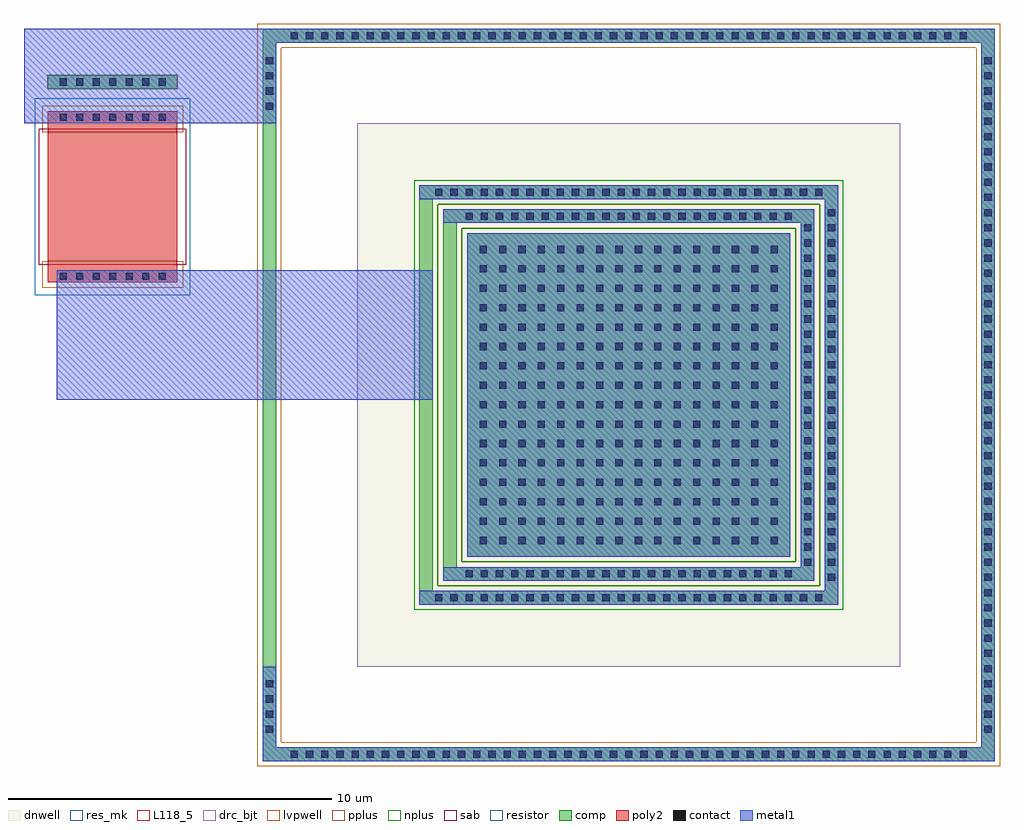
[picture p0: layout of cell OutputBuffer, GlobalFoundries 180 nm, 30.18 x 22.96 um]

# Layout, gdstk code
from math import pi, radians
import gdstk
lib = gdstk.Library(unit=1e-6, precision=1e-09)
def R(c, l, rs):  # rectangles x0, y0, x1, y1
    for r in rs: c.add(gdstk.rectangle(r[:2], r[2:], *l))
def A(c, l, x, y, w, h, nx, ny, dx, dy):  # array of equal rectangles
    R(c, l, [(x+i*dx, y+j*dy, x+i*dx+w, y+j*dy+h) for i in range(nx) for j in range(ny)])
def P(c, l, *ps):  # polygons
    for p in ps: c.add(gdstk.Polygon(p, *l))
dnwell = (12, 0)
comp = (22, 0)
poly2 = (30, 0)
pplus = (31, 0)
nplus = (32, 0)
contact = (33, 0)
metal1 = (34, 0)
sab = (49, 0)
resistor = (62, 0)
res_mk = (110, 5)
L118_5 = (118, 5)
drc_bjt = (127, 5)
lvpwell = (204, 0)

npn_10p00x10p00_0 = lib.new_cell('npn_10p00x10p00_0')
R(npn_10p00x10p00_0, dnwell, [(-3.4,-3.4,13.4,13.4), (-3.4,-3.4,13.4,13.4)])
R(npn_10p00x10p00_0, comp, [(0,0,10,10), (0,0,10,10)])
P(npn_10p00x10p00_0, comp, [(-6.32,-6.32),(-6.32,16.32),(15.9,16.32),(15.9,15.9),(-5.9,15.9),(-5.9,-5.9),(15.9,-5.9),(15.9,16.32),(16.32,16.32),(16.32,-6.32)],
  [(-0.74,-0.74),(-0.74,10.74),(10.32,10.74),(10.32,10.32),(-0.32,10.32),(-0.32,-0.32),(10.32,-0.32),(10.32,10.74),(10.74,10.74),(10.74,-0.74)],
  [(-1.48,-1.48),(-1.48,11.48),(11.06,11.48),(11.06,11.06),(-1.06,11.06),(-1.06,-1.06),(11.06,-1.06),(11.06,11.48),(11.48,11.48),(11.48,-1.48)],
  [(-6.32,-6.32),(-6.32,16.32),(15.9,16.32),(15.9,15.9),(-5.9,15.9),(-5.9,-5.9),(15.9,-5.9),(15.9,16.32),(16.32,16.32),(16.32,-6.32)],
  [(-0.74,-0.74),(-0.74,10.74),(10.32,10.74),(10.32,10.32),(-0.32,10.32),(-0.32,-0.32),(10.32,-0.32),(10.32,10.74),(10.74,10.74),(10.74,-0.74)],
  [(-1.48,-1.48),(-1.48,11.48),(11.06,11.48),(11.06,11.06),(-1.06,11.06),(-1.06,-1.06),(11.06,-1.06),(11.06,11.48),(11.48,11.48),(11.48,-1.48)])
P(npn_10p00x10p00_0, pplus, [(-6.48,-6.48),(-6.48,16.48),(15.74,16.48),(15.74,15.74),(-5.74,15.74),(-5.74,-5.74),(15.74,-5.74),(15.74,16.48),(16.48,16.48),(16.48,-6.48)],
  [(-0.9,-0.9),(-0.9,10.9),(10.16,10.9),(10.16,10.16),(-0.16,10.16),(-0.16,-0.16),(10.16,-0.16),(10.16,10.9),(10.9,10.9),(10.9,-0.9)],
  [(-6.48,-6.48),(-6.48,16.48),(15.74,16.48),(15.74,15.74),(-5.74,15.74),(-5.74,-5.74),(15.74,-5.74),(15.74,16.48),(16.48,16.48),(16.48,-6.48)],
  [(-0.9,-0.9),(-0.9,10.9),(10.16,10.9),(10.16,10.16),(-0.16,10.16),(-0.16,-0.16),(10.16,-0.16),(10.16,10.9),(10.9,10.9),(10.9,-0.9)])
R(npn_10p00x10p00_0, nplus, [(-0.16,-0.16,10.16,10.16), (-0.16,-0.16,10.16,10.16)])
P(npn_10p00x10p00_0, nplus, [(-1.64,-1.64),(-1.64,11.64),(10.9,11.64),(10.9,10.9),(-0.9,10.9),(-0.9,-0.9),(10.9,-0.9),(10.9,11.64),(11.64,11.64),(11.64,-1.64)],
  [(-1.64,-1.64),(-1.64,11.64),(10.9,11.64),(10.9,10.9),(-0.9,10.9),(-0.9,-0.9),(10.9,-0.9),(10.9,11.64),(11.64,11.64),(11.64,-1.64)])
R(npn_10p00x10p00_0, contact, [(-5.45,-6.22,-5.23,-6), (-5.45,-6.22,-5.23,-6), (-4.98,-6.22,-4.76,-6), (-4.98,-6.22,-4.76,-6), (-4.51,-6.22,-4.29,-6), (-4.51,-6.22,-4.29,-6), (-4.04,-6.22,-3.82,-6), (-4.04,-6.22,-3.82,-6), (13.82,-6.22,14.04,-6), (13.82,-6.22,14.04,-6), (14.29,-6.22,14.51,-6), (14.29,-6.22,14.51,-6), (14.76,-6.22,14.98,-6), (14.76,-6.22,14.98,-6), (15.23,-6.22,15.45,-6), (15.23,-6.22,15.45,-6), (-6.22,-5.45,-6,-5.23), (-6.22,-5.45,-6,-5.23), (16,-5.45,16.22,-5.23), (16,-5.45,16.22,-5.23), (-6.22,-4.98,-6,-4.76), (-6.22,-4.98,-6,-4.76), (16,-4.98,16.22,-4.76), (16,-4.98,16.22,-4.76), (-6.22,-4.51,-6,-4.29), (-6.22,-4.51,-6,-4.29), (16,-4.51,16.22,-4.29), (16,-4.51,16.22,-4.29), (-6.22,-4.04,-6,-3.82), (-6.22,-4.04,-6,-3.82), (16,-4.04,16.22,-3.82), (16,-4.04,16.22,-3.82), (-6.22,-3.57,-6,-3.35), (-6.22,-3.57,-6,-3.35), (16,-3.57,16.22,-3.35), (16,-3.57,16.22,-3.35), (-6.22,-3.1,-6,-2.88), (-6.22,-3.1,-6,-2.88), (16,-3.1,16.22,-2.88), (16,-3.1,16.22,-2.88), (-6.22,-2.63,-6,-2.41), (-6.22,-2.63,-6,-2.41), (16,-2.63,16.22,-2.41), (16,-2.63,16.22,-2.41), (-6.22,-2.16,-6,-1.94), (-6.22,-2.16,-6,-1.94), (16,-2.16,16.22,-1.94), (16,-2.16,16.22,-1.94), (-6.22,-1.69,-6,-1.47), (-6.22,-1.69,-6,-1.47), (16,-1.69,16.22,-1.47), (16,-1.69,16.22,-1.47), (-6.22,-1.22,-6,-1), (-6.22,-1.22,-6,-1), (16,-1.22,16.22,-1), (16,-1.22,16.22,-1), (-1.38,-0.985,-1.16,-0.765), (-1.38,-0.985,-1.16,-0.765), (11.16,-0.985,11.38,-0.765), (11.16,-0.985,11.38,-0.765), (-6.22,-0.75,-6,-0.53), (-6.22,-0.75,-6,-0.53), (16,-0.75,16.22,-0.53), (16,-0.75,16.22,-0.53), (-1.38,-0.515,-1.16,-0.295), (-1.38,-0.515,-1.16,-0.295), (11.16,-0.515,11.38,-0.295), (11.16,-0.515,11.38,-0.295), (-6.22,-0.28,-6,-0.06), (-6.22,-0.28,-6,-0.06), (16,-0.28,16.22,-0.06), (16,-0.28,16.22,-0.06), (-1.38,-0.045,-1.16,0.175), (-1.38,-0.045,-1.16,0.175), (-0.64,-0.045,-0.42,0.175), (-0.64,-0.045,-0.42,0.175), (10.42,-0.045,10.64,0.175), (10.42,-0.045,10.64,0.175), (11.16,-0.045,11.38,0.175), (11.16,-0.045,11.38,0.175), (-6.22,0.19,-6,0.41), (-6.22,0.19,-6,0.41), (16,0.19,16.22,0.41), (16,0.19,16.22,0.41), (0.39,0.39,0.61,0.61), (0.39,0.39,0.61,0.61), (0.99,0.39,1.21,0.61), (0.99,0.39,1.21,0.61), (1.59,0.39,1.81,0.61), (1.59,0.39,1.81,0.61), (2.19,0.39,2.41,0.61), (2.19,0.39,2.41,0.61), (2.79,0.39,3.01,0.61), (2.79,0.39,3.01,0.61), (3.39,0.39,3.61,0.61), (3.39,0.39,3.61,0.61), (3.99,0.39,4.21,0.61), (3.99,0.39,4.21,0.61), (4.59,0.39,4.81,0.61), (4.59,0.39,4.81,0.61), (5.19,0.39,5.41,0.61), (5.19,0.39,5.41,0.61), (5.79,0.39,6.01,0.61), (5.79,0.39,6.01,0.61), (6.39,0.39,6.61,0.61), (6.39,0.39,6.61,0.61), (6.99,0.39,7.21,0.61), (6.99,0.39,7.21,0.61), (7.59,0.39,7.81,0.61), (7.59,0.39,7.81,0.61), (8.19,0.39,8.41,0.61), (8.19,0.39,8.41,0.61), (8.79,0.39,9.01,0.61), (8.79,0.39,9.01,0.61), (9.39,0.39,9.61,0.61), (9.39,0.39,9.61,0.61), (-1.38,0.425,-1.16,0.645), (-1.38,0.425,-1.16,0.645), (-0.64,0.425,-0.42,0.645), (-0.64,0.425,-0.42,0.645), (10.42,0.425,10.64,0.645), (10.42,0.425,10.64,0.645), (11.16,0.425,11.38,0.645), (11.16,0.425,11.38,0.645), (-6.22,0.66,-6,0.88), (-6.22,0.66,-6,0.88), (16,0.66,16.22,0.88), (16,0.66,16.22,0.88), (-1.38,0.895,-1.16,1.115), (-1.38,0.895,-1.16,1.115), (-0.64,0.895,-0.42,1.115), (-0.64,0.895,-0.42,1.115), (10.42,0.895,10.64,1.115), (10.42,0.895,10.64,1.115), (11.16,0.895,11.38,1.115), (11.16,0.895,11.38,1.115), (0.39,0.99,0.61,1.21), (0.39,0.99,0.61,1.21), (0.99,0.99,1.21,1.21), (0.99,0.99,1.21,1.21), (1.59,0.99,1.81,1.21), (1.59,0.99,1.81,1.21), (2.19,0.99,2.41,1.21), (2.19,0.99,2.41,1.21), (2.79,0.99,3.01,1.21), (2.79,0.99,3.01,1.21), (3.39,0.99,3.61,1.21), (3.39,0.99,3.61,1.21), (3.99,0.99,4.21,1.21), (3.99,0.99,4.21,1.21), (4.59,0.99,4.81,1.21), (4.59,0.99,4.81,1.21), (5.19,0.99,5.41,1.21), (5.19,0.99,5.41,1.21), (5.79,0.99,6.01,1.21), (5.79,0.99,6.01,1.21), (6.39,0.99,6.61,1.21), (6.39,0.99,6.61,1.21), (6.99,0.99,7.21,1.21), (6.99,0.99,7.21,1.21), (7.59,0.99,7.81,1.21), (7.59,0.99,7.81,1.21), (8.19,0.99,8.41,1.21), (8.19,0.99,8.41,1.21), (8.79,0.99,9.01,1.21), (8.79,0.99,9.01,1.21), (9.39,0.99,9.61,1.21), (9.39,0.99,9.61,1.21), (-6.22,1.13,-6,1.35), (-6.22,1.13,-6,1.35), (16,1.13,16.22,1.35), (16,1.13,16.22,1.35), (-1.38,1.365,-1.16,1.585), (-1.38,1.365,-1.16,1.585), (-0.64,1.365,-0.42,1.585), (-0.64,1.365,-0.42,1.585), (10.42,1.365,10.64,1.585), (10.42,1.365,10.64,1.585), (11.16,1.365,11.38,1.585), (11.16,1.365,11.38,1.585), (0.39,1.59,0.61,1.81), (0.39,1.59,0.61,1.81), (0.99,1.59,1.21,1.81), (0.99,1.59,1.21,1.81), (1.59,1.59,1.81,1.81), (1.59,1.59,1.81,1.81), (2.19,1.59,2.41,1.81), (2.19,1.59,2.41,1.81), (2.79,1.59,3.01,1.81), (2.79,1.59,3.01,1.81), (3.39,1.59,3.61,1.81), (3.39,1.59,3.61,1.81), (3.99,1.59,4.21,1.81), (3.99,1.59,4.21,1.81), (4.59,1.59,4.81,1.81), (4.59,1.59,4.81,1.81), (5.19,1.59,5.41,1.81), (5.19,1.59,5.41,1.81), (5.79,1.59,6.01,1.81), (5.79,1.59,6.01,1.81), (6.39,1.59,6.61,1.81), (6.39,1.59,6.61,1.81), (6.99,1.59,7.21,1.81), (6.99,1.59,7.21,1.81), (7.59,1.59,7.81,1.81), (7.59,1.59,7.81,1.81), (8.19,1.59,8.41,1.81), (8.19,1.59,8.41,1.81), (8.79,1.59,9.01,1.81), (8.79,1.59,9.01,1.81), (9.39,1.59,9.61,1.81), (9.39,1.59,9.61,1.81), (-6.22,1.6,-6,1.82), (-6.22,1.6,-6,1.82), (16,1.6,16.22,1.82), (16,1.6,16.22,1.82), (-1.38,1.835,-1.16,2.055), (-1.38,1.835,-1.16,2.055), (-0.64,1.835,-0.42,2.055), (-0.64,1.835,-0.42,2.055), (10.42,1.835,10.64,2.055), (10.42,1.835,10.64,2.055), (11.16,1.835,11.38,2.055), (11.16,1.835,11.38,2.055), (-6.22,2.07,-6,2.29), (-6.22,2.07,-6,2.29), (16,2.07,16.22,2.29), (16,2.07,16.22,2.29), (0.39,2.19,0.61,2.41), (0.39,2.19,0.61,2.41), (0.99,2.19,1.21,2.41), (0.99,2.19,1.21,2.41), (1.59,2.19,1.81,2.41), (1.59,2.19,1.81,2.41), (2.19,2.19,2.41,2.41), (2.19,2.19,2.41,2.41), (2.79,2.19,3.01,2.41), (2.79,2.19,3.01,2.41), (3.39,2.19,3.61,2.41), (3.39,2.19,3.61,2.41), (3.99,2.19,4.21,2.41), (3.99,2.19,4.21,2.41), (4.59,2.19,4.81,2.41), (4.59,2.19,4.81,2.41), (5.19,2.19,5.41,2.41), (5.19,2.19,5.41,2.41), (5.79,2.19,6.01,2.41), (5.79,2.19,6.01,2.41), (6.39,2.19,6.61,2.41), (6.39,2.19,6.61,2.41), (6.99,2.19,7.21,2.41), (6.99,2.19,7.21,2.41), (7.59,2.19,7.81,2.41), (7.59,2.19,7.81,2.41), (8.19,2.19,8.41,2.41), (8.19,2.19,8.41,2.41), (8.79,2.19,9.01,2.41), (8.79,2.19,9.01,2.41), (9.39,2.19,9.61,2.41), (9.39,2.19,9.61,2.41), (-1.38,2.305,-1.16,2.525), (-1.38,2.305,-1.16,2.525), (-0.64,2.305,-0.42,2.525), (-0.64,2.305,-0.42,2.525), (10.42,2.305,10.64,2.525), (10.42,2.305,10.64,2.525), (11.16,2.305,11.38,2.525), (11.16,2.305,11.38,2.525), (-6.22,2.54,-6,2.76), (-6.22,2.54,-6,2.76), (16,2.54,16.22,2.76), (16,2.54,16.22,2.76), (-1.38,2.775,-1.16,2.995), (-1.38,2.775,-1.16,2.995), (-0.64,2.775,-0.42,2.995), (-0.64,2.775,-0.42,2.995), (10.42,2.775,10.64,2.995), (10.42,2.775,10.64,2.995), (11.16,2.775,11.38,2.995), (11.16,2.775,11.38,2.995), (0.39,2.79,0.61,3.01), (0.39,2.79,0.61,3.01), (0.99,2.79,1.21,3.01), (0.99,2.79,1.21,3.01), (1.59,2.79,1.81,3.01), (1.59,2.79,1.81,3.01), (2.19,2.79,2.41,3.01), (2.19,2.79,2.41,3.01), (2.79,2.79,3.01,3.01), (2.79,2.79,3.01,3.01), (3.39,2.79,3.61,3.01), (3.39,2.79,3.61,3.01), (3.99,2.79,4.21,3.01), (3.99,2.79,4.21,3.01), (4.59,2.79,4.81,3.01), (4.59,2.79,4.81,3.01), (5.19,2.79,5.41,3.01), (5.19,2.79,5.41,3.01), (5.79,2.79,6.01,3.01), (5.79,2.79,6.01,3.01), (6.39,2.79,6.61,3.01), (6.39,2.79,6.61,3.01), (6.99,2.79,7.21,3.01), (6.99,2.79,7.21,3.01), (7.59,2.79,7.81,3.01), (7.59,2.79,7.81,3.01), (8.19,2.79,8.41,3.01), (8.19,2.79,8.41,3.01), (8.79,2.79,9.01,3.01), (8.79,2.79,9.01,3.01), (9.39,2.79,9.61,3.01), (9.39,2.79,9.61,3.01), (-6.22,3.01,-6,3.23), (-6.22,3.01,-6,3.23), (16,3.01,16.22,3.23), (16,3.01,16.22,3.23), (-1.38,3.245,-1.16,3.465), (-1.38,3.245,-1.16,3.465), (-0.64,3.245,-0.42,3.465), (-0.64,3.245,-0.42,3.465), (10.42,3.245,10.64,3.465), (10.42,3.245,10.64,3.465), (11.16,3.245,11.38,3.465), (11.16,3.245,11.38,3.465), (0.39,3.39,0.61,3.61), (0.39,3.39,0.61,3.61), (0.99,3.39,1.21,3.61), (0.99,3.39,1.21,3.61), (1.59,3.39,1.81,3.61), (1.59,3.39,1.81,3.61), (2.19,3.39,2.41,3.61), (2.19,3.39,2.41,3.61), (2.79,3.39,3.01,3.61), (2.79,3.39,3.01,3.61), (3.39,3.39,3.61,3.61), (3.39,3.39,3.61,3.61), (3.99,3.39,4.21,3.61), (3.99,3.39,4.21,3.61), (4.59,3.39,4.81,3.61), (4.59,3.39,4.81,3.61), (5.19,3.39,5.41,3.61), (5.19,3.39,5.41,3.61), (5.79,3.39,6.01,3.61), (5.79,3.39,6.01,3.61), (6.39,3.39,6.61,3.61), (6.39,3.39,6.61,3.61), (6.99,3.39,7.21,3.61), (6.99,3.39,7.21,3.61), (7.59,3.39,7.81,3.61), (7.59,3.39,7.81,3.61), (8.19,3.39,8.41,3.61), (8.19,3.39,8.41,3.61), (8.79,3.39,9.01,3.61), (8.79,3.39,9.01,3.61), (9.39,3.39,9.61,3.61), (9.39,3.39,9.61,3.61), (-6.22,3.48,-6,3.7), (-6.22,3.48,-6,3.7), (16,3.48,16.22,3.7), (16,3.48,16.22,3.7), (-1.38,3.715,-1.16,3.935), (-1.38,3.715,-1.16,3.935), (-0.64,3.715,-0.42,3.935), (-0.64,3.715,-0.42,3.935), (10.42,3.715,10.64,3.935), (10.42,3.715,10.64,3.935), (11.16,3.715,11.38,3.935), (11.16,3.715,11.38,3.935), (-6.22,3.95,-6,4.17), (-6.22,3.95,-6,4.17), (16,3.95,16.22,4.17), (16,3.95,16.22,4.17), (0.39,3.99,0.61,4.21), (0.39,3.99,0.61,4.21), (0.99,3.99,1.21,4.21), (0.99,3.99,1.21,4.21), (1.59,3.99,1.81,4.21), (1.59,3.99,1.81,4.21), (2.19,3.99,2.41,4.21), (2.19,3.99,2.41,4.21), (2.79,3.99,3.01,4.21), (2.79,3.99,3.01,4.21), (3.39,3.99,3.61,4.21), (3.39,3.99,3.61,4.21), (3.99,3.99,4.21,4.21), (3.99,3.99,4.21,4.21), (4.59,3.99,4.81,4.21), (4.59,3.99,4.81,4.21), (5.19,3.99,5.41,4.21), (5.19,3.99,5.41,4.21), (5.79,3.99,6.01,4.21), (5.79,3.99,6.01,4.21), (6.39,3.99,6.61,4.21), (6.39,3.99,6.61,4.21), (6.99,3.99,7.21,4.21), (6.99,3.99,7.21,4.21), (7.59,3.99,7.81,4.21), (7.59,3.99,7.81,4.21), (8.19,3.99,8.41,4.21), (8.19,3.99,8.41,4.21), (8.79,3.99,9.01,4.21), (8.79,3.99,9.01,4.21), (9.39,3.99,9.61,4.21), (9.39,3.99,9.61,4.21), (-1.38,4.185,-1.16,4.405), (-1.38,4.185,-1.16,4.405), (-0.64,4.185,-0.42,4.405), (-0.64,4.185,-0.42,4.405), (10.42,4.185,10.64,4.405), (10.42,4.185,10.64,4.405), (11.16,4.185,11.38,4.405), (11.16,4.185,11.38,4.405), (-6.22,4.42,-6,4.64), (-6.22,4.42,-6,4.64), (16,4.42,16.22,4.64), (16,4.42,16.22,4.64), (0.39,4.59,0.61,4.81), (0.39,4.59,0.61,4.81), (0.99,4.59,1.21,4.81), (0.99,4.59,1.21,4.81), (1.59,4.59,1.81,4.81), (1.59,4.59,1.81,4.81), (2.19,4.59,2.41,4.81), (2.19,4.59,2.41,4.81), (2.79,4.59,3.01,4.81), (2.79,4.59,3.01,4.81), (3.39,4.59,3.61,4.81), (3.39,4.59,3.61,4.81), (3.99,4.59,4.21,4.81), (3.99,4.59,4.21,4.81), (4.59,4.59,4.81,4.81), (4.59,4.59,4.81,4.81), (5.19,4.59,5.41,4.81), (5.19,4.59,5.41,4.81), (5.79,4.59,6.01,4.81), (5.79,4.59,6.01,4.81), (6.39,4.59,6.61,4.81), (6.39,4.59,6.61,4.81), (6.99,4.59,7.21,4.81), (6.99,4.59,7.21,4.81), (7.59,4.59,7.81,4.81), (7.59,4.59,7.81,4.81), (8.19,4.59,8.41,4.81), (8.19,4.59,8.41,4.81), (8.79,4.59,9.01,4.81), (8.79,4.59,9.01,4.81), (9.39,4.59,9.61,4.81), (9.39,4.59,9.61,4.81), (-1.38,4.655,-1.16,4.875), (-1.38,4.655,-1.16,4.875), (-0.64,4.655,-0.42,4.875), (-0.64,4.655,-0.42,4.875), (10.42,4.655,10.64,4.875), (10.42,4.655,10.64,4.875), (11.16,4.655,11.38,4.875), (11.16,4.655,11.38,4.875), (-6.22,4.89,-6,5.11), (-6.22,4.89,-6,5.11), (16,4.89,16.22,5.11), (16,4.89,16.22,5.11), (-1.38,5.125,-1.16,5.345), (-1.38,5.125,-1.16,5.345), (-0.64,5.125,-0.42,5.345), (-0.64,5.125,-0.42,5.345), (10.42,5.125,10.64,5.345), (10.42,5.125,10.64,5.345), (11.16,5.125,11.38,5.345), (11.16,5.125,11.38,5.345), (0.39,5.19,0.61,5.41), (0.39,5.19,0.61,5.41), (0.99,5.19,1.21,5.41), (0.99,5.19,1.21,5.41), (1.59,5.19,1.81,5.41), (1.59,5.19,1.81,5.41), (2.19,5.19,2.41,5.41), (2.19,5.19,2.41,5.41), (2.79,5.19,3.01,5.41), (2.79,5.19,3.01,5.41), (3.39,5.19,3.61,5.41), (3.39,5.19,3.61,5.41), (3.99,5.19,4.21,5.41), (3.99,5.19,4.21,5.41), (4.59,5.19,4.81,5.41), (4.59,5.19,4.81,5.41), (5.19,5.19,5.41,5.41), (5.19,5.19,5.41,5.41), (5.79,5.19,6.01,5.41), (5.79,5.19,6.01,5.41), (6.39,5.19,6.61,5.41), (6.39,5.19,6.61,5.41), (6.99,5.19,7.21,5.41), (6.99,5.19,7.21,5.41), (7.59,5.19,7.81,5.41), (7.59,5.19,7.81,5.41), (8.19,5.19,8.41,5.41), (8.19,5.19,8.41,5.41), (8.79,5.19,9.01,5.41), (8.79,5.19,9.01,5.41), (9.39,5.19,9.61,5.41), (9.39,5.19,9.61,5.41), (-6.22,5.36,-6,5.58), (-6.22,5.36,-6,5.58), (16,5.36,16.22,5.58), (16,5.36,16.22,5.58), (-1.38,5.595,-1.16,5.815), (-1.38,5.595,-1.16,5.815), (-0.64,5.595,-0.42,5.815), (-0.64,5.595,-0.42,5.815), (10.42,5.595,10.64,5.815), (10.42,5.595,10.64,5.815), (11.16,5.595,11.38,5.815), (11.16,5.595,11.38,5.815), (0.39,5.79,0.61,6.01), (0.39,5.79,0.61,6.01), (0.99,5.79,1.21,6.01), (0.99,5.79,1.21,6.01), (1.59,5.79,1.81,6.01), (1.59,5.79,1.81,6.01), (2.19,5.79,2.41,6.01), (2.19,5.79,2.41,6.01), (2.79,5.79,3.01,6.01), (2.79,5.79,3.01,6.01), (3.39,5.79,3.61,6.01), (3.39,5.79,3.61,6.01), (3.99,5.79,4.21,6.01), (3.99,5.79,4.21,6.01), (4.59,5.79,4.81,6.01), (4.59,5.79,4.81,6.01), (5.19,5.79,5.41,6.01), (5.19,5.79,5.41,6.01), (5.79,5.79,6.01,6.01), (5.79,5.79,6.01,6.01), (6.39,5.79,6.61,6.01), (6.39,5.79,6.61,6.01), (6.99,5.79,7.21,6.01), (6.99,5.79,7.21,6.01), (7.59,5.79,7.81,6.01), (7.59,5.79,7.81,6.01), (8.19,5.79,8.41,6.01), (8.19,5.79,8.41,6.01), (8.79,5.79,9.01,6.01), (8.79,5.79,9.01,6.01), (9.39,5.79,9.61,6.01), (9.39,5.79,9.61,6.01), (-6.22,5.83,-6,6.05), (-6.22,5.83,-6,6.05), (16,5.83,16.22,6.05), (16,5.83,16.22,6.05), (-1.38,6.065,-1.16,6.285), (-1.38,6.065,-1.16,6.285), (-0.64,6.065,-0.42,6.285), (-0.64,6.065,-0.42,6.285), (10.42,6.065,10.64,6.285), (10.42,6.065,10.64,6.285), (11.16,6.065,11.38,6.285), (11.16,6.065,11.38,6.285), (-6.22,6.3,-6,6.52), (-6.22,6.3,-6,6.52), (16,6.3,16.22,6.52), (16,6.3,16.22,6.52), (0.39,6.39,0.61,6.61), (0.39,6.39,0.61,6.61), (0.99,6.39,1.21,6.61), (0.99,6.39,1.21,6.61), (1.59,6.39,1.81,6.61), (1.59,6.39,1.81,6.61), (2.19,6.39,2.41,6.61), (2.19,6.39,2.41,6.61), (2.79,6.39,3.01,6.61), (2.79,6.39,3.01,6.61), (3.39,6.39,3.61,6.61), (3.39,6.39,3.61,6.61), (3.99,6.39,4.21,6.61), (3.99,6.39,4.21,6.61), (4.59,6.39,4.81,6.61), (4.59,6.39,4.81,6.61), (5.19,6.39,5.41,6.61), (5.19,6.39,5.41,6.61), (5.79,6.39,6.01,6.61), (5.79,6.39,6.01,6.61), (6.39,6.39,6.61,6.61), (6.39,6.39,6.61,6.61), (6.99,6.39,7.21,6.61), (6.99,6.39,7.21,6.61), (7.59,6.39,7.81,6.61), (7.59,6.39,7.81,6.61), (8.19,6.39,8.41,6.61), (8.19,6.39,8.41,6.61), (8.79,6.39,9.01,6.61), (8.79,6.39,9.01,6.61), (9.39,6.39,9.61,6.61), (9.39,6.39,9.61,6.61), (-1.38,6.535,-1.16,6.755), (-1.38,6.535,-1.16,6.755), (-0.64,6.535,-0.42,6.755), (-0.64,6.535,-0.42,6.755), (10.42,6.535,10.64,6.755), (10.42,6.535,10.64,6.755), (11.16,6.535,11.38,6.755), (11.16,6.535,11.38,6.755), (-6.22,6.77,-6,6.99), (-6.22,6.77,-6,6.99), (16,6.77,16.22,6.99), (16,6.77,16.22,6.99), (0.39,6.99,0.61,7.21), (0.39,6.99,0.61,7.21), (0.99,6.99,1.21,7.21), (0.99,6.99,1.21,7.21), (1.59,6.99,1.81,7.21), (1.59,6.99,1.81,7.21), (2.19,6.99,2.41,7.21), (2.19,6.99,2.41,7.21), (2.79,6.99,3.01,7.21), (2.79,6.99,3.01,7.21), (3.39,6.99,3.61,7.21), (3.39,6.99,3.61,7.21), (3.99,6.99,4.21,7.21), (3.99,6.99,4.21,7.21), (4.59,6.99,4.81,7.21), (4.59,6.99,4.81,7.21), (5.19,6.99,5.41,7.21), (5.19,6.99,5.41,7.21), (5.79,6.99,6.01,7.21), (5.79,6.99,6.01,7.21), (6.39,6.99,6.61,7.21), (6.39,6.99,6.61,7.21), (6.99,6.99,7.21,7.21), (6.99,6.99,7.21,7.21), (7.59,6.99,7.81,7.21), (7.59,6.99,7.81,7.21), (8.19,6.99,8.41,7.21), (8.19,6.99,8.41,7.21), (8.79,6.99,9.01,7.21), (8.79,6.99,9.01,7.21), (9.39,6.99,9.61,7.21), (9.39,6.99,9.61,7.21), (-1.38,7.005,-1.16,7.225), (-1.38,7.005,-1.16,7.225), (-0.64,7.005,-0.42,7.225), (-0.64,7.005,-0.42,7.225), (10.42,7.005,10.64,7.225), (10.42,7.005,10.64,7.225), (11.16,7.005,11.38,7.225), (11.16,7.005,11.38,7.225), (-6.22,7.24,-6,7.46), (-6.22,7.24,-6,7.46), (16,7.24,16.22,7.46), (16,7.24,16.22,7.46), (-1.38,7.475,-1.16,7.695), (-1.38,7.475,-1.16,7.695), (-0.64,7.475,-0.42,7.695), (-0.64,7.475,-0.42,7.695), (10.42,7.475,10.64,7.695), (10.42,7.475,10.64,7.695), (11.16,7.475,11.38,7.695), (11.16,7.475,11.38,7.695), (0.39,7.59,0.61,7.81), (0.39,7.59,0.61,7.81), (0.99,7.59,1.21,7.81), (0.99,7.59,1.21,7.81), (1.59,7.59,1.81,7.81), (1.59,7.59,1.81,7.81), (2.19,7.59,2.41,7.81), (2.19,7.59,2.41,7.81), (2.79,7.59,3.01,7.81), (2.79,7.59,3.01,7.81), (3.39,7.59,3.61,7.81), (3.39,7.59,3.61,7.81), (3.99,7.59,4.21,7.81), (3.99,7.59,4.21,7.81), (4.59,7.59,4.81,7.81), (4.59,7.59,4.81,7.81), (5.19,7.59,5.41,7.81), (5.19,7.59,5.41,7.81), (5.79,7.59,6.01,7.81), (5.79,7.59,6.01,7.81), (6.39,7.59,6.61,7.81), (6.39,7.59,6.61,7.81), (6.99,7.59,7.21,7.81), (6.99,7.59,7.21,7.81), (7.59,7.59,7.81,7.81), (7.59,7.59,7.81,7.81), (8.19,7.59,8.41,7.81), (8.19,7.59,8.41,7.81), (8.79,7.59,9.01,7.81), (8.79,7.59,9.01,7.81), (9.39,7.59,9.61,7.81), (9.39,7.59,9.61,7.81), (-6.22,7.71,-6,7.93), (-6.22,7.71,-6,7.93), (16,7.71,16.22,7.93), (16,7.71,16.22,7.93), (-1.38,7.945,-1.16,8.165), (-1.38,7.945,-1.16,8.165), (-0.64,7.945,-0.42,8.165), (-0.64,7.945,-0.42,8.165), (10.42,7.945,10.64,8.165), (10.42,7.945,10.64,8.165), (11.16,7.945,11.38,8.165), (11.16,7.945,11.38,8.165), (-6.22,8.18,-6,8.4), (-6.22,8.18,-6,8.4), (16,8.18,16.22,8.4), (16,8.18,16.22,8.4), (0.39,8.19,0.61,8.41), (0.39,8.19,0.61,8.41), (0.99,8.19,1.21,8.41), (0.99,8.19,1.21,8.41), (1.59,8.19,1.81,8.41), (1.59,8.19,1.81,8.41), (2.19,8.19,2.41,8.41), (2.19,8.19,2.41,8.41), (2.79,8.19,3.01,8.41), (2.79,8.19,3.01,8.41), (3.39,8.19,3.61,8.41), (3.39,8.19,3.61,8.41), (3.99,8.19,4.21,8.41), (3.99,8.19,4.21,8.41), (4.59,8.19,4.81,8.41), (4.59,8.19,4.81,8.41), (5.19,8.19,5.41,8.41), (5.19,8.19,5.41,8.41), (5.79,8.19,6.01,8.41), (5.79,8.19,6.01,8.41), (6.39,8.19,6.61,8.41), (6.39,8.19,6.61,8.41), (6.99,8.19,7.21,8.41), (6.99,8.19,7.21,8.41), (7.59,8.19,7.81,8.41), (7.59,8.19,7.81,8.41), (8.19,8.19,8.41,8.41), (8.19,8.19,8.41,8.41), (8.79,8.19,9.01,8.41), (8.79,8.19,9.01,8.41), (9.39,8.19,9.61,8.41), (9.39,8.19,9.61,8.41), (-1.38,8.415,-1.16,8.635), (-1.38,8.415,-1.16,8.635), (-0.64,8.415,-0.42,8.635), (-0.64,8.415,-0.42,8.635), (10.42,8.415,10.64,8.635), (10.42,8.415,10.64,8.635), (11.16,8.415,11.38,8.635), (11.16,8.415,11.38,8.635), (-6.22,8.65,-6,8.87), (-6.22,8.65,-6,8.87), (16,8.65,16.22,8.87), (16,8.65,16.22,8.87), (0.39,8.79,0.61,9.01), (0.39,8.79,0.61,9.01), (0.99,8.79,1.21,9.01), (0.99,8.79,1.21,9.01), (1.59,8.79,1.81,9.01), (1.59,8.79,1.81,9.01), (2.19,8.79,2.41,9.01), (2.19,8.79,2.41,9.01), (2.79,8.79,3.01,9.01), (2.79,8.79,3.01,9.01), (3.39,8.79,3.61,9.01), (3.39,8.79,3.61,9.01), (3.99,8.79,4.21,9.01), (3.99,8.79,4.21,9.01), (4.59,8.79,4.81,9.01), (4.59,8.79,4.81,9.01), (5.19,8.79,5.41,9.01), (5.19,8.79,5.41,9.01), (5.79,8.79,6.01,9.01), (5.79,8.79,6.01,9.01), (6.39,8.79,6.61,9.01), (6.39,8.79,6.61,9.01), (6.99,8.79,7.21,9.01), (6.99,8.79,7.21,9.01), (7.59,8.79,7.81,9.01), (7.59,8.79,7.81,9.01), (8.19,8.79,8.41,9.01), (8.19,8.79,8.41,9.01), (8.79,8.79,9.01,9.01), (8.79,8.79,9.01,9.01), (9.39,8.79,9.61,9.01), (9.39,8.79,9.61,9.01), (-1.38,8.885,-1.16,9.105), (-1.38,8.885,-1.16,9.105), (-0.64,8.885,-0.42,9.105), (-0.64,8.885,-0.42,9.105), (10.42,8.885,10.64,9.105), (10.42,8.885,10.64,9.105), (11.16,8.885,11.38,9.105), (11.16,8.885,11.38,9.105), (-6.22,9.12,-6,9.34), (-6.22,9.12,-6,9.34), (16,9.12,16.22,9.34), (16,9.12,16.22,9.34), (-1.38,9.355,-1.16,9.575), (-1.38,9.355,-1.16,9.575), (-0.64,9.355,-0.42,9.575), (-0.64,9.355,-0.42,9.575), (10.42,9.355,10.64,9.575), (10.42,9.355,10.64,9.575), (11.16,9.355,11.38,9.575), (11.16,9.355,11.38,9.575), (0.39,9.39,0.61,9.61), (0.39,9.39,0.61,9.61), (0.99,9.39,1.21,9.61), (0.99,9.39,1.21,9.61), (1.59,9.39,1.81,9.61), (1.59,9.39,1.81,9.61), (2.19,9.39,2.41,9.61), (2.19,9.39,2.41,9.61), (2.79,9.39,3.01,9.61), (2.79,9.39,3.01,9.61), (3.39,9.39,3.61,9.61), (3.39,9.39,3.61,9.61), (3.99,9.39,4.21,9.61), (3.99,9.39,4.21,9.61), (4.59,9.39,4.81,9.61), (4.59,9.39,4.81,9.61), (5.19,9.39,5.41,9.61), (5.19,9.39,5.41,9.61), (5.79,9.39,6.01,9.61), (5.79,9.39,6.01,9.61), (6.39,9.39,6.61,9.61), (6.39,9.39,6.61,9.61), (6.99,9.39,7.21,9.61), (6.99,9.39,7.21,9.61), (7.59,9.39,7.81,9.61), (7.59,9.39,7.81,9.61), (8.19,9.39,8.41,9.61), (8.19,9.39,8.41,9.61), (8.79,9.39,9.01,9.61), (8.79,9.39,9.01,9.61), (9.39,9.39,9.61,9.61), (9.39,9.39,9.61,9.61), (-6.22,9.59,-6,9.81), (-6.22,9.59,-6,9.81), (16,9.59,16.22,9.81), (16,9.59,16.22,9.81), (-1.38,9.825,-1.16,10.045), (-1.38,9.825,-1.16,10.045), (-0.64,9.825,-0.42,10.045), (-0.64,9.825,-0.42,10.045), (10.42,9.825,10.64,10.045), (10.42,9.825,10.64,10.045), (11.16,9.825,11.38,10.045), (11.16,9.825,11.38,10.045), (-6.22,10.06,-6,10.28), (-6.22,10.06,-6,10.28), (16,10.06,16.22,10.28), (16,10.06,16.22,10.28), (-1.38,10.295,-1.16,10.515), (-1.38,10.295,-1.16,10.515), (11.16,10.295,11.38,10.515), (11.16,10.295,11.38,10.515), (-0.28,10.42,-0.06,10.64), (-0.28,10.42,-0.06,10.64), (0.19,10.42,0.41,10.64), (0.19,10.42,0.41,10.64), (0.66,10.42,0.88,10.64), (0.66,10.42,0.88,10.64), (1.13,10.42,1.35,10.64), (1.13,10.42,1.35,10.64), (1.6,10.42,1.82,10.64), (1.6,10.42,1.82,10.64), (2.07,10.42,2.29,10.64), (2.07,10.42,2.29,10.64), (2.54,10.42,2.76,10.64), (2.54,10.42,2.76,10.64), (3.01,10.42,3.23,10.64), (3.01,10.42,3.23,10.64), (3.48,10.42,3.7,10.64), (3.48,10.42,3.7,10.64), (3.95,10.42,4.17,10.64), (3.95,10.42,4.17,10.64), (4.42,10.42,4.64,10.64), (4.42,10.42,4.64,10.64), (4.89,10.42,5.11,10.64), (4.89,10.42,5.11,10.64), (5.36,10.42,5.58,10.64), (5.36,10.42,5.58,10.64), (5.83,10.42,6.05,10.64), (5.83,10.42,6.05,10.64), (6.3,10.42,6.52,10.64), (6.3,10.42,6.52,10.64), (6.77,10.42,6.99,10.64), (6.77,10.42,6.99,10.64), (7.24,10.42,7.46,10.64), (7.24,10.42,7.46,10.64), (7.71,10.42,7.93,10.64), (7.71,10.42,7.93,10.64), (8.18,10.42,8.4,10.64), (8.18,10.42,8.4,10.64), (8.65,10.42,8.87,10.64), (8.65,10.42,8.87,10.64), (9.12,10.42,9.34,10.64), (9.12,10.42,9.34,10.64), (9.59,10.42,9.81,10.64), (9.59,10.42,9.81,10.64), (10.06,10.42,10.28,10.64), (10.06,10.42,10.28,10.64), (-6.22,10.53,-6,10.75), (-6.22,10.53,-6,10.75), (16,10.53,16.22,10.75), (16,10.53,16.22,10.75), (-1.38,10.765,-1.16,10.985), (-1.38,10.765,-1.16,10.985), (11.16,10.765,11.38,10.985), (11.16,10.765,11.38,10.985), (-6.22,11,-6,11.22), (-6.22,11,-6,11.22), (16,11,16.22,11.22), (16,11,16.22,11.22), (-0.75,11.16,-0.53,11.38), (-0.75,11.16,-0.53,11.38), (-0.28,11.16,-0.06,11.38), (-0.28,11.16,-0.06,11.38), (0.19,11.16,0.41,11.38), (0.19,11.16,0.41,11.38), (0.66,11.16,0.88,11.38), (0.66,11.16,0.88,11.38), (1.13,11.16,1.35,11.38), (1.13,11.16,1.35,11.38), (1.6,11.16,1.82,11.38), (1.6,11.16,1.82,11.38), (2.07,11.16,2.29,11.38), (2.07,11.16,2.29,11.38), (2.54,11.16,2.76,11.38), (2.54,11.16,2.76,11.38), (3.01,11.16,3.23,11.38), (3.01,11.16,3.23,11.38), (3.48,11.16,3.7,11.38), (3.48,11.16,3.7,11.38), (3.95,11.16,4.17,11.38), (3.95,11.16,4.17,11.38), (4.42,11.16,4.64,11.38), (4.42,11.16,4.64,11.38), (4.89,11.16,5.11,11.38), (4.89,11.16,5.11,11.38), (5.36,11.16,5.58,11.38), (5.36,11.16,5.58,11.38), (5.83,11.16,6.05,11.38), (5.83,11.16,6.05,11.38), (6.3,11.16,6.52,11.38), (6.3,11.16,6.52,11.38), (6.77,11.16,6.99,11.38), (6.77,11.16,6.99,11.38), (7.24,11.16,7.46,11.38), (7.24,11.16,7.46,11.38), (7.71,11.16,7.93,11.38), (7.71,11.16,7.93,11.38), (8.18,11.16,8.4,11.38), (8.18,11.16,8.4,11.38), (8.65,11.16,8.87,11.38), (8.65,11.16,8.87,11.38), (9.12,11.16,9.34,11.38), (9.12,11.16,9.34,11.38), (9.59,11.16,9.81,11.38), (9.59,11.16,9.81,11.38), (10.06,11.16,10.28,11.38), (10.06,11.16,10.28,11.38), (10.53,11.16,10.75,11.38), (10.53,11.16,10.75,11.38), (-6.22,11.47,-6,11.69), (-6.22,11.47,-6,11.69), (16,11.47,16.22,11.69), (16,11.47,16.22,11.69), (-6.22,11.94,-6,12.16), (-6.22,11.94,-6,12.16), (16,11.94,16.22,12.16), (16,11.94,16.22,12.16), (-6.22,12.41,-6,12.63), (-6.22,12.41,-6,12.63), (16,12.41,16.22,12.63), (16,12.41,16.22,12.63), (-6.22,12.88,-6,13.1), (-6.22,12.88,-6,13.1), (16,12.88,16.22,13.1), (16,12.88,16.22,13.1), (-6.22,13.35,-6,13.57), (-6.22,13.35,-6,13.57), (16,13.35,16.22,13.57), (16,13.35,16.22,13.57), (-6.22,13.82,-6,14.04), (-6.22,13.82,-6,14.04), (16,13.82,16.22,14.04), (16,13.82,16.22,14.04), (-6.22,14.29,-6,14.51), (-6.22,14.29,-6,14.51), (16,14.29,16.22,14.51), (16,14.29,16.22,14.51), (-6.22,14.76,-6,14.98), (-6.22,14.76,-6,14.98), (16,14.76,16.22,14.98), (16,14.76,16.22,14.98), (-6.22,15.23,-6,15.45), (-6.22,15.23,-6,15.45), (16,15.23,16.22,15.45), (16,15.23,16.22,15.45), (-5.45,16,-5.23,16.22), (-5.45,16,-5.23,16.22), (-4.98,16,-4.76,16.22), (-4.98,16,-4.76,16.22), (-4.51,16,-4.29,16.22), (-4.51,16,-4.29,16.22), (-4.04,16,-3.82,16.22), (-4.04,16,-3.82,16.22), (-3.57,16,-3.35,16.22), (-3.57,16,-3.35,16.22), (-3.1,16,-2.88,16.22), (-3.1,16,-2.88,16.22), (-2.63,16,-2.41,16.22), (-2.63,16,-2.41,16.22), (-2.16,16,-1.94,16.22), (-2.16,16,-1.94,16.22), (-1.69,16,-1.47,16.22), (-1.69,16,-1.47,16.22), (-1.22,16,-1,16.22), (-1.22,16,-1,16.22), (-0.75,16,-0.53,16.22), (-0.75,16,-0.53,16.22), (-0.28,16,-0.06,16.22), (-0.28,16,-0.06,16.22), (0.19,16,0.41,16.22), (0.19,16,0.41,16.22), (0.66,16,0.88,16.22), (0.66,16,0.88,16.22), (1.13,16,1.35,16.22), (1.13,16,1.35,16.22), (1.6,16,1.82,16.22), (1.6,16,1.82,16.22), (2.07,16,2.29,16.22), (2.07,16,2.29,16.22), (2.54,16,2.76,16.22), (2.54,16,2.76,16.22), (3.01,16,3.23,16.22), (3.01,16,3.23,16.22), (3.48,16,3.7,16.22), (3.48,16,3.7,16.22), (3.95,16,4.17,16.22), (3.95,16,4.17,16.22), (4.42,16,4.64,16.22), (4.42,16,4.64,16.22), (4.89,16,5.11,16.22), (4.89,16,5.11,16.22), (5.36,16,5.58,16.22), (5.36,16,5.58,16.22), (5.83,16,6.05,16.22), (5.83,16,6.05,16.22), (6.3,16,6.52,16.22), (6.3,16,6.52,16.22), (6.77,16,6.99,16.22), (6.77,16,6.99,16.22), (7.24,16,7.46,16.22), (7.24,16,7.46,16.22), (7.71,16,7.93,16.22), (7.71,16,7.93,16.22), (8.18,16,8.4,16.22), (8.18,16,8.4,16.22), (8.65,16,8.87,16.22), (8.65,16,8.87,16.22), (9.12,16,9.34,16.22), (9.12,16,9.34,16.22), (9.59,16,9.81,16.22), (9.59,16,9.81,16.22), (10.06,16,10.28,16.22), (10.06,16,10.28,16.22), (10.53,16,10.75,16.22), (10.53,16,10.75,16.22), (11,16,11.22,16.22), (11,16,11.22,16.22), (11.47,16,11.69,16.22), (11.47,16,11.69,16.22), (11.94,16,12.16,16.22), (11.94,16,12.16,16.22), (12.41,16,12.63,16.22), (12.41,16,12.63,16.22), (12.88,16,13.1,16.22), (12.88,16,13.1,16.22), (13.35,16,13.57,16.22), (13.35,16,13.57,16.22), (13.82,16,14.04,16.22), (13.82,16,14.04,16.22), (14.29,16,14.51,16.22), (14.29,16,14.51,16.22), (14.76,16,14.98,16.22), (14.76,16,14.98,16.22), (15.23,16,15.45,16.22), (15.23,16,15.45,16.22)])
R(npn_10p00x10p00_0, metal1, [(-6.32,-6.32,-5.9,16.32), (-6.32,-6.32,-5.9,16.32), (-6.32,-6.32,-3.4,-5.9), (-6.32,-6.32,-3.4,-5.9), (13.4,-6.32,16.32,-5.9), (13.4,-6.32,16.32,-5.9), (15.9,-6.32,16.32,16.32), (15.9,-6.32,16.32,16.32), (-1.48,-1.48,-1.06,11.48), (-1.48,-1.48,-1.06,11.48), (11.06,-1.48,11.48,11.48), (11.06,-1.48,11.48,11.48), (-0.74,-0.74,-0.32,10.74), (-0.74,-0.74,-0.32,10.74), (10.32,-0.74,10.74,10.74), (10.32,-0.74,10.74,10.74), (0,0,10,10), (0,0,10,10), (0,0,10,10), (0,0,10,10), (-0.74,10.32,10.74,10.74), (-0.74,10.32,10.74,10.74), (-1.48,11.06,11.48,11.48), (-1.48,11.06,11.48,11.48), (-6.32,15.9,16.32,16.32), (-6.32,15.9,16.32,16.32)])
P(npn_10p00x10p00_0, metal1, [(-6.32,-6.32),(-6.32,16.32),(15.9,16.32),(15.9,15.9),(-5.9,15.9),(-5.9,-5.9),(-3.4,-5.9),(-3.4,-6.32)],
  [(13.4,-6.32),(13.4,-5.9),(15.9,-5.9),(15.9,16.32),(16.32,16.32),(16.32,-6.32)],
  [(-0.74,-0.74),(-0.74,10.74),(10.74,10.74),(10.74,-0.74),(10.32,-0.74),(10.32,10.32),(-0.32,10.32),(-0.32,-0.74)],
  [(-1.48,-1.48),(-1.48,11.48),(11.48,11.48),(11.48,-1.48),(11.06,-1.48),(11.06,11.06),(-1.06,11.06),(-1.06,-1.48)],
  [(-6.32,-6.32),(-6.32,16.32),(15.9,16.32),(15.9,15.9),(-5.9,15.9),(-5.9,-5.9),(-3.4,-5.9),(-3.4,-6.32)],
  [(13.4,-6.32),(13.4,-5.9),(15.9,-5.9),(15.9,16.32),(16.32,16.32),(16.32,-6.32)],
  [(-0.74,-0.74),(-0.74,10.74),(10.74,10.74),(10.74,-0.74),(10.32,-0.74),(10.32,10.32),(-0.32,10.32),(-0.32,-0.74)],
  [(-1.48,-1.48),(-1.48,11.48),(11.48,11.48),(11.48,-1.48),(11.06,-1.48),(11.06,11.06),(-1.06,11.06),(-1.06,-1.48)])
R(npn_10p00x10p00_0, L118_5, [(0,0,10,10), (0,0,10,10)])
R(npn_10p00x10p00_0, drc_bjt, [(-3.4,-3.4,13.4,13.4), (-3.4,-3.4,13.4,13.4)])
R(npn_10p00x10p00_0, lvpwell, [(-0.9,-0.9,10.9,10.9), (-0.9,-0.9,10.9,10.9)])
npn_10p00x10p00_0.add(gdstk.Label('E', (5.005,4.995), layer=34, texttype=0))
npn_10p00x10p00_0.add(gdstk.Label('B', (-0.515,-0.485), layer=34, texttype=0))
npn_10p00x10p00_0.add(gdstk.Label('B', (10.525,-0.495), layer=34, texttype=0))
npn_10p00x10p00_0.add(gdstk.Label('B', (10.55,10.54), layer=34, texttype=0))
npn_10p00x10p00_0.add(gdstk.Label('C', (-1.255,11.26), layer=34, texttype=0))
npn_10p00x10p00_0.add(gdstk.Label('C', (11.27,-1.235), layer=34, texttype=0))
npn_10p00x10p00_0.add(gdstk.Label('C', (11.285,11.285), layer=34, texttype=0))
npn_10p00x10p00_0.add(gdstk.Label('S', (16.105,16.105), layer=34, texttype=0))
npn_10p00x10p00_0.add(gdstk.Label('S', (16.07,-6.095), layer=34, texttype=0))
npn_10p00x10p00_0.add(gdstk.Label('S', (16.07,-6.095), layer=34, texttype=0))
npn_10p00x10p00_0.add(gdstk.Label('S', (-6.095,-6.055), layer=34, texttype=0))
npn_10p00x10p00_0.add(gdstk.Label('S', (-6.095,-6.055), layer=34, texttype=0))
npn_10p00x10p00_0.add(gdstk.Label('E', (5.005,4.995), layer=34, texttype=0))
npn_10p00x10p00_0.add(gdstk.Label('B', (-0.515,-0.485), layer=34, texttype=0))
npn_10p00x10p00_0.add(gdstk.Label('B', (10.525,-0.495), layer=34, texttype=0))
npn_10p00x10p00_0.add(gdstk.Label('B', (10.55,10.54), layer=34, texttype=0))
npn_10p00x10p00_0.add(gdstk.Label('C', (-1.255,11.26), layer=34, texttype=0))
npn_10p00x10p00_0.add(gdstk.Label('C', (11.27,-1.235), layer=34, texttype=0))
npn_10p00x10p00_0.add(gdstk.Label('C', (11.285,11.285), layer=34, texttype=0))
npn_10p00x10p00_0.add(gdstk.Label('S', (16.105,16.105), layer=34, texttype=0))
npn_10p00x10p00_0.add(gdstk.Label('S', (16.07,-6.095), layer=34, texttype=0))
npn_10p00x10p00_0.add(gdstk.Label('S', (16.07,-6.095), layer=34, texttype=0))
npn_10p00x10p00_0.add(gdstk.Label('S', (-6.095,-6.055), layer=34, texttype=0))
npn_10p00x10p00_0.add(gdstk.Label('S', (-6.095,-6.055), layer=34, texttype=0))

npn_10p00x10p00 = lib.new_cell('npn_10p00x10p00')
npn_10p00x10p00.add(gdstk.Reference(npn_10p00x10p00_0, (6.6,6.6)))
npn_10p00x10p00.add(gdstk.Label('I1_default_E', (6.625,6.625), layer=34, texttype=10))
npn_10p00x10p00.add(gdstk.Label('I1_default_S', (0.305,22.525), layer=34, texttype=10))
npn_10p00x10p00.add(gdstk.Label('I1_default_S', (22.525,0.305), layer=34, texttype=10))
npn_10p00x10p00.add(gdstk.Label('I1_default_S', (20.025,0.305), layer=34, texttype=10))
npn_10p00x10p00.add(gdstk.Label('I1_default_S', (0.305,0.305), layer=34, texttype=10))
npn_10p00x10p00.add(gdstk.Label('I1_default_S', (0.305,0.305), layer=34, texttype=10))
npn_10p00x10p00.add(gdstk.Label('I1_default_C', (5.145,5.145), layer=34, texttype=10))
npn_10p00x10p00.add(gdstk.Label('I1_default_C', (17.685,5.145), layer=34, texttype=10))
npn_10p00x10p00.add(gdstk.Label('I1_default_C', (5.145,17.685), layer=34, texttype=10))
npn_10p00x10p00.add(gdstk.Label('I1_default_B', (5.885,5.885), layer=34, texttype=10))
npn_10p00x10p00.add(gdstk.Label('I1_default_B', (16.945,5.885), layer=34, texttype=10))
npn_10p00x10p00.add(gdstk.Label('I1_default_B', (5.885,16.945), layer=34, texttype=10))
npn_10p00x10p00.add(gdstk.Label('I1_default_E', (6.625,6.625), layer=34, texttype=10))
npn_10p00x10p00.add(gdstk.Label('I1_default_S', (0.305,22.525), layer=34, texttype=10))
npn_10p00x10p00.add(gdstk.Label('I1_default_S', (22.525,0.305), layer=34, texttype=10))
npn_10p00x10p00.add(gdstk.Label('I1_default_S', (20.025,0.305), layer=34, texttype=10))
npn_10p00x10p00.add(gdstk.Label('I1_default_S', (0.305,0.305), layer=34, texttype=10))
npn_10p00x10p00.add(gdstk.Label('I1_default_S', (0.305,0.305), layer=34, texttype=10))
npn_10p00x10p00.add(gdstk.Label('I1_default_C', (5.145,5.145), layer=34, texttype=10))
npn_10p00x10p00.add(gdstk.Label('I1_default_C', (17.685,5.145), layer=34, texttype=10))
npn_10p00x10p00.add(gdstk.Label('I1_default_C', (5.145,17.685), layer=34, texttype=10))
npn_10p00x10p00.add(gdstk.Label('I1_default_B', (5.885,5.885), layer=34, texttype=10))
npn_10p00x10p00.add(gdstk.Label('I1_default_B', (16.945,5.885), layer=34, texttype=10))
npn_10p00x10p00.add(gdstk.Label('I1_default_B', (5.885,16.945), layer=34, texttype=10))

npn_bjt = lib.new_cell('npn_bjt')
npn_bjt.add(gdstk.Reference(npn_10p00x10p00, (0,0)))

ppolyf_u_high_rs_resisto = lib.new_cell('ppolyf_u_high_Rs_resistor')
R(ppolyf_u_high_rs_resisto, comp, [(-1.76,0,-1.34,4)])
R(ppolyf_u_high_rs_resisto, poly2, [(-0.64,0,4.64,4)])
R(ppolyf_u_high_rs_resisto, pplus, [(-0.82,-0.18,0,4.18), (4,-0.18,4.82,4.18), (-1.78,-0.02,-1.32,4.02)])
A(ppolyf_u_high_rs_resisto, contact, -1.66, 0.36, 0.22, 0.22, 1, 7, 0, 0.51)
A(ppolyf_u_high_rs_resisto, contact, -0.57, 0.36, 0.22, 0.22, 1, 7, 0, 0.51)
A(ppolyf_u_high_rs_resisto, contact, 4.35, 0.36, 0.22, 0.22, 1, 7, 0, 0.51)
R(ppolyf_u_high_rs_resisto, metal1, [(-1.74,0.28,-1.36,3.72), (-0.65,0.28,-0.27,3.72), (4.27,0.28,4.65,3.72)])
R(ppolyf_u_high_rs_resisto, sab, [(-0.1,-0.28,4.1,4.28)])
R(ppolyf_u_high_rs_resisto, resistor, [(-1.04,-0.4,5.04,4.4)])
R(ppolyf_u_high_rs_resisto, res_mk, [(0,0,4,4)])

outputbuffer = lib.new_cell('OutputBuffer')
R(outputbuffer, metal1, [(-6.24,11.38,5.38,15.38), (-6.22,11.38,5.38,15.38), (-7.26,19.92,0.54,22.84)])
r = gdstk.Reference(npn_bjt, (-0.16,23.12), rotation=3*pi/2); r.repetition = gdstk.Repetition(1, 1, v1=(0,0), v2=(0,0)); outputbuffer.add(r)
r = gdstk.Reference(ppolyf_u_high_rs_resisto, (-6.52,19.65), rotation=3*pi/2); r.repetition = gdstk.Repetition(1, 1, v1=(0,0), v2=(0,0)); outputbuffer.add(r)

lib.write_gds('OutputBuffer.gds')
